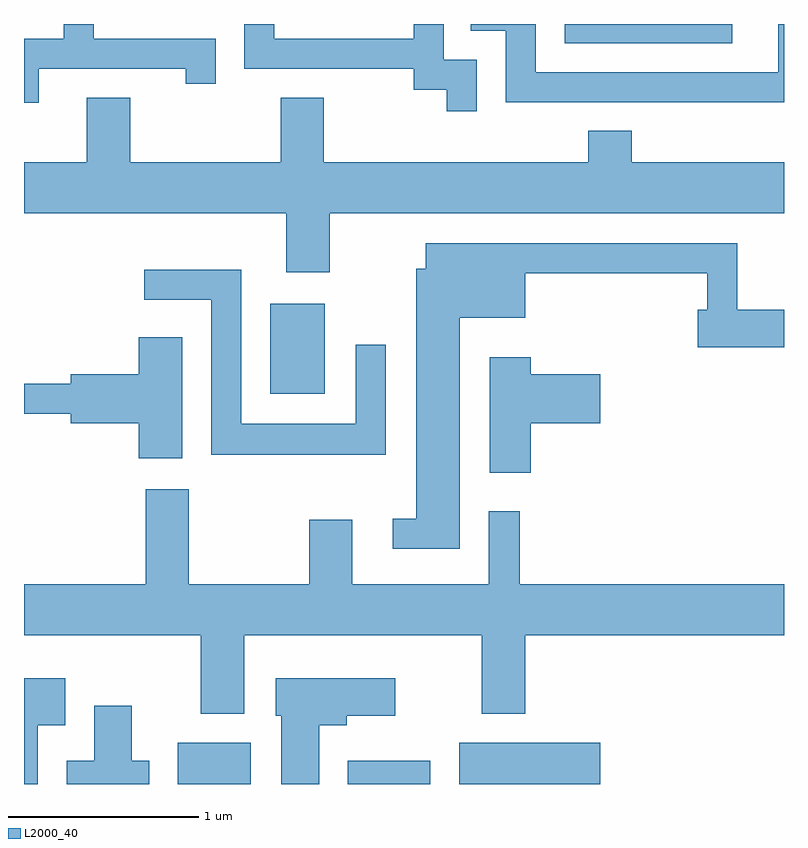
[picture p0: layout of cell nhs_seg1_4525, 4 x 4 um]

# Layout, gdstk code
import gdstk
lib = gdstk.Library(unit=1e-6, precision=1e-09)
def R(c, l, rs):  # rectangles x0, y0, x1, y1
    for r in rs: c.add(gdstk.rectangle(r[:2], r[2:], *l))
def P(c, l, *ps):  # polygons
    for p in ps: c.add(gdstk.Polygon(p, *l))
L2000_40 = (2000, 40)

nhs_seg1_4525 = lib.new_cell('nhs_seg1_4525')
R(nhs_seg1_4525, L2000_40, [(322.421,867.712,322.804,867.929), (323.316,867.712,323.749,867.834), (323.901,867.712,324.644,867.929), (322.906,869.766,323.194,870.239), (324.456,871.611,325.338,871.712)])
P(nhs_seg1_4525, L2000_40, [(325.611,871.712),(325.581,871.712),(325.581,871.459),(324.304,871.459),(324.304,871.712),(323.963,871.712),(323.963,871.676),(324.146,871.676),(324.146,871.301),(325.611,871.301)],
  [(321.689,871.476),(322.461,871.476),(322.461,871.398),(322.619,871.398),(322.619,871.634),(321.979,871.634),(321.979,871.712),(321.821,871.712),(321.821,871.634),(321.611,871.634),(321.611,871.298),(321.689,871.298)],
  [(323.994,871.524),(323.819,871.524),(323.819,871.712),(323.661,871.712),(323.661,871.634),(322.929,871.634),(322.929,871.712),(322.771,871.712),(322.771,871.476),(323.661,871.476),(323.661,871.366),(323.836,871.366),(323.836,871.253),(323.994,871.253)],
  [(323.219,870.716),(325.611,870.716),(325.611,870.984),(324.809,870.984),(324.809,871.149),(324.581,871.149),(324.581,870.984),(323.189,870.984),(323.189,871.324),(322.961,871.324),(322.961,870.984),(322.169,870.984),(322.169,871.324),(321.941,871.324),(321.941,870.984),(321.611,870.984),(321.611,870.716),(322.991,870.716),(322.991,870.406),(323.219,870.406)],
  [(323.904,870.166),(324.249,870.166),(324.249,870.401),(325.206,870.401),(325.206,870.209),(325.156,870.209),(325.156,870.011),(325.611,870.011),(325.611,870.209),(325.364,870.209),(325.364,870.559),(323.726,870.559),(323.726,870.424),(323.676,870.424),(323.676,869.109),(323.553,869.109),(323.553,868.951),(323.904,868.951)],
  [(323.514,870.023),(323.356,870.023),(323.356,869.609),(322.754,869.609),(322.754,870.419),(322.243,870.419),(322.243,870.261),(322.596,870.261),(322.596,869.446),(323.514,869.446)],
  [(322.444,870.064),(322.216,870.064),(322.216,869.869),(321.856,869.869),(321.856,869.819),(321.611,869.819),(321.611,869.661),(321.856,869.661),(321.856,869.611),(322.216,869.611),(322.216,869.426),(322.444,869.426)],
  [(324.279,869.611),(324.644,869.611),(324.644,869.869),(324.279,869.869),(324.279,869.959),(324.061,869.959),(324.061,869.351),(324.279,869.351)],
  [(322.769,868.496),(324.021,868.496),(324.021,868.081),(324.249,868.081),(324.249,868.496),(325.611,868.496),(325.611,868.764),(324.219,868.764),(324.219,869.148),(324.056,869.148),(324.056,868.764),(323.339,868.764),(323.339,869.104),(323.111,869.104),(323.111,868.764),(322.479,868.764),(322.479,869.264),(322.251,869.264),(322.251,868.764),(321.611,868.764),(321.611,868.496),(322.541,868.496),(322.541,868.081),(322.769,868.081)],
  [(323.164,868.021),(323.309,868.021),(323.309,868.071),(323.564,868.071),(323.564,868.269),(322.936,868.269),(322.936,868.071),(322.966,868.071),(322.966,867.712),(323.164,867.712)],
  [(321.684,868.021),(321.829,868.021),(321.829,868.269),(321.611,868.269),(321.611,867.712),(321.684,867.712)],
  [(322.269,867.834),(322.179,867.834),(322.179,868.124),(321.981,868.124),(321.981,867.834),(321.836,867.834),(321.836,867.712),(322.269,867.712)])

lib.write_gds('nhs_seg1_4525.gds')
